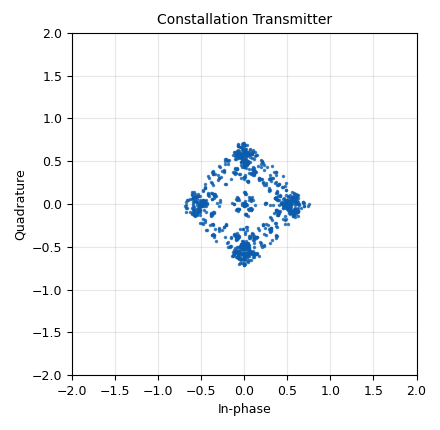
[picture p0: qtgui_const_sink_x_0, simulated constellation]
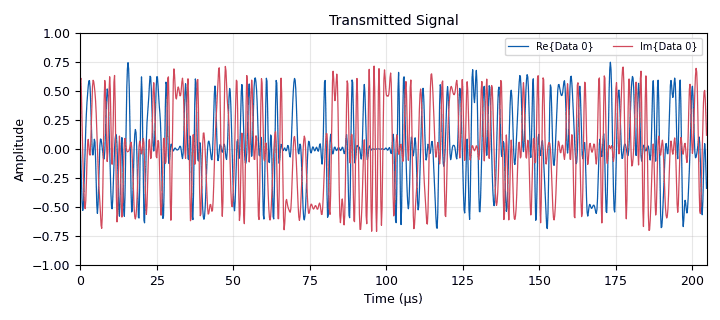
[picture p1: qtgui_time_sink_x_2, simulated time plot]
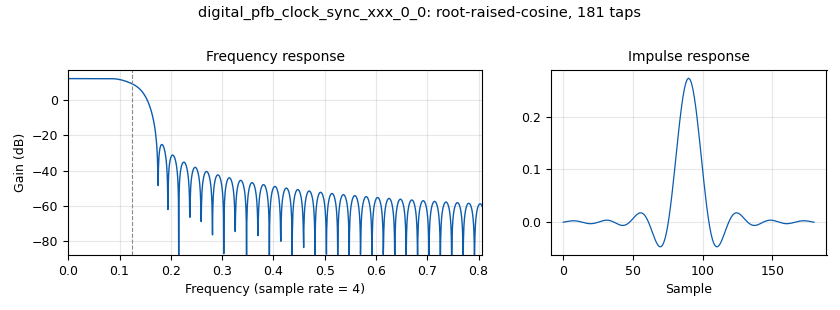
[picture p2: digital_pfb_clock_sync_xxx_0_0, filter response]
options:
  parameters:
    author: Javier Acevedo
    category: Custom
    copyright: MIT
    generate_options: qt_gui
    id: bpsk_mod
    output_language: python
  states: {}

blocks:
- name: bpsk_const
  id: variable_constellation
  parameters:
    precision: '8'
    type: qpsk
  states: {}
- name: cent_freq
  id: variable
  parameters:
    value: 2.45e9
  states: {}
- name: delay_tx
  id: variable_qtgui_range
  parameters:
    gui_hint: 0,2,1,2
    orient: Qt.Horizontal
    start: '5'
    step: '1'
    stop: '100'
    value: '25'
  states: {}
- name: excess_bw
  id: variable
  parameters:
    value: '0.350'
  states: {}
- name: gain
  id: variable_qtgui_range
  parameters:
    gui_hint: 0,4,1,1
    orient: Qt.Horizontal
    start: '0'
    step: '1'
    stop: '100'
    value: '50'
  states: {state: disabled}
- name: ip_addr_rx
  id: variable
  parameters:
    value: '"192.168.10.200"'
  states: {}
- name: ip_addr_tx
  id: variable
  parameters:
    value: '"192.168.10.2"'
  states: {}
- name: loop_order
  id: variable
  parameters:
    value: '2'
  states: {}
- name: nfilts
  id: variable
  parameters:
    value: '4'
  states: {}
- name: noise
  id: variable_qtgui_range
  parameters:
    gui_hint: 0,0,1,1
    orient: Qt.Horizontal
    start: '0'
    step: '1'
    stop: '100'
    value: '50'
  states: {}
- name: ntaps
  id: variable
  parameters:
    value: '15'
  states: {}
- name: phase_bw
  id: variable
  parameters:
    value: '62.8e-3'
  states: {}
- name: rrc_taps
  id: variable
  parameters:
    value: firdes.root_raised_cosine(nfilts, nfilts, 1.0/float(sps), 0.35, 45*nfilts)
  states: {}
- name: samp_rate
  id: variable
  parameters:
    value: 5e6
  states: {}
- name: sps
  id: variable
  parameters:
    value: '4'
  states: {}
- name: taps
  id: variable
  parameters:
    value: '[1.0, 0.25-0.25j, 0.50 + 0.10j, -0.3 + 0.2j]'
  states: {}
- name: tunning
  id: variable_qtgui_range
  parameters:
    gui_hint: 0,1,1,1
    orient: Qt.Horizontal
    start: '0'
    step: '1'
    stop: '100'
    value: '50'
  states: {}
- name: analog_agc2_xx_0
  id: analog_agc2_xx
  parameters:
    attack_rate: '1e-1'
    decay_rate: '1e-2'
    gain: '1.0'
    max_gain: '65536'
    reference: '1.0'
    type: complex
  states: {}
- name: analog_random_source_x_0
  id: analog_random_source_x
  parameters:
    max: '256'
    min: '0'
    num_samps: '1000'
    repeat: 'True'
    type: byte
  states: {}
- name: blocks_char_to_float_0
  id: blocks_char_to_float
  parameters:
    scale: '1'
  states: {state: disabled}
- name: blocks_char_to_float_1
  id: blocks_char_to_float
  parameters:
    scale: '1'
  states: {state: disabled}
- name: blocks_delay_0
  id: blocks_delay
  parameters:
    delay: delay_tx
    type: float
  states: {state: disabled}
- name: blocks_file_sink_0
  id: blocks_file_sink
  parameters:
    file: /home/supersonic/GitHub/Post-Shannon-SDR/Transmissions/BPSK/Files/test_file_rx
    type: byte
  states: {state: disabled}
- name: blocks_file_source_0
  id: blocks_file_source
  parameters:
    file: /home/supersonic/GitHub/Post-Shannon-SDR/Examples/BPSK/testFiles/test_file
    repeat: 'True'
    type: byte
  states: {state: disabled}
- name: blocks_multiply_const_vxx_0
  id: blocks_multiply_const_vxx
  parameters:
    const: '0.5'
    type: complex
  states: {}
- name: blocks_sub_xx_0
  id: blocks_sub_xx
  parameters:
    type: float
  states: {state: disabled}
- name: blocks_unpack_k_bits_bb_0
  id: blocks_unpack_k_bits_bb
  parameters:
    k: '8'
  states: {state: disabled}
- name: blocks_unpacked_to_packed_xx_0_0
  id: blocks_unpacked_to_packed_xx
  parameters:
    bits_per_chunk: '8'
    endianness: gr.GR_MSB_FIRST
    type: byte
  states: {state: disabled}
- name: blocks_unpacked_to_packed_xx_0_0_0
  id: blocks_unpacked_to_packed_xx
  parameters:
    bits_per_chunk: '1'
    endianness: gr.GR_MSB_FIRST
    type: byte
  states: {state: disabled}
- name: digital_cma_equalizer_cc_0
  id: digital_cma_equalizer_cc
  parameters:
    modulus: '1'
    mu: '0.01'
    num_taps: '15'
    sps: '2'
  states: {}
- name: digital_constellation_decoder_cb_0
  id: digital_constellation_decoder_cb
  parameters:
    constellation: bpsk_const
  states: {state: disabled}
- name: digital_constellation_modulator_0
  id: digital_constellation_modulator
  parameters:
    constellation: bpsk_const
    differential: 'True'
    excess_bw: '0.35'
    samples_per_symbol: '4'
  states: {state: disabled}
- name: digital_costas_loop_cc_0
  id: digital_costas_loop_cc
  parameters:
    order: '2'
    w: phase_bw
  states: {}
- name: digital_diff_decoder_bb_0
  id: digital_diff_decoder_bb
  parameters:
    modulus: '2'
  states: {state: disabled}
- name: digital_fll_band_edge_cc_0
  id: digital_fll_band_edge_cc
  parameters:
    filter_size: '45'
    rolloff: '0.35'
    samps_per_sym: '2'
    type: cc
    w: '0.0628'
  states: {}
- name: digital_pfb_clock_sync_xxx_0
  id: digital_pfb_clock_sync_xxx
  parameters:
    filter_size: '32'
    init_phase: '16'
    loop_bw: phase_bw
    max_dev: '1.5'
    osps: '2'
    sps: sps
    taps: rrc_taps
    type: ccf
  states: {state: disabled}
- name: digital_pfb_clock_sync_xxx_0_0
  id: digital_pfb_clock_sync_xxx
  parameters:
    filter_size: nfilts
    init_phase: nfilts/2
    loop_bw: '0.0628'
    max_dev: '1.5'
    osps: '2'
    sps: sps
    taps: rrc_taps
    type: ccf
  states: {}
- name: digital_psk_mod_0
  id: digital_psk_mod
  parameters:
    constellation_points: '4'
    differential: 'False'
    excess_bw: '0.35'
    mod_code: '"gray"'
    samples_per_symbol: '4'
  states: {}
- name: qtgui_const_sink_x_0
  id: qtgui_const_sink_x
  parameters:
    gui_hint: 3,0,2,2
    name: Constallation Transmitter
    size: '1024'
    type: complex
  states: {}
- name: qtgui_const_sink_x_0_0
  id: qtgui_const_sink_x
  parameters:
    gui_hint: 3,2,2,2
    name: Constalletion Receiver
    size: '1024'
    type: complex
  states: {}
- name: qtgui_time_sink_x_0
  id: qtgui_time_sink_x
  parameters:
    gui_hint: 5,0,1,4
    label1: Rx
    label2: Offset
    label3: Tx
    name: Input output signal
    nconnections: '3'
    size: '1024'
    srate: samp_rate
    type: float
  states: {state: disabled}
- name: qtgui_time_sink_x_2
  id: qtgui_time_sink_x
  parameters:
    gui_hint: 1,0,1,4
    name: Transmitted Signal
    size: '1024'
    srate: samp_rate
    type: complex
  states: {}
- name: uhd_usrp_sink_0
  id: uhd_usrp_sink
  parameters:
    ant0: TX/RX
    center_freq0: cent_freq
    clock_rate: '0.0'
    dev_addr: addr=192.168.10.200
    dev_args: '""'
    gain0: '30'
    len_tag_name: ''
    norm_gain0: 'False'
    samp_rate: samp_rate
    stream_args: peak=0.003906
    sync: pc_clock
    type: fc32
  states: {}
- name: uhd_usrp_source_0
  id: uhd_usrp_source
  parameters:
    ant0: RX2
    center_freq0: 915e6
    clock_rate: '0.0'
    dc_offs_enb0: '""'
    dev_addr: addr=192.168.10.2
    dev_args: '""'
    gain0: '30'
    iq_imbal_enb0: '""'
    norm_gain0: 'False'
    samp_rate: samp_rate
    stream_args: peak=0.003906
    sync: pc_clock
    type: fc32
  states: {}
- name: virtual_sink_1
  id: virtual_sink
  parameters:
    stream_id: original_data
  states: {state: disabled}
- name: virtual_source_2
  id: virtual_source
  parameters:
    stream_id: original_data
  states: {state: disabled}

connections:
- [analog_agc2_xx_0, '0', digital_fll_band_edge_cc_0, '0']
- [analog_random_source_x_0, '0', digital_psk_mod_0, '0']
- [blocks_char_to_float_0, '0', blocks_sub_xx_0, '0']
- [blocks_char_to_float_0, '0', qtgui_time_sink_x_0, '0']
- [blocks_char_to_float_1, '0', blocks_delay_0, '0']
- [blocks_delay_0, '0', blocks_sub_xx_0, '1']
- [blocks_delay_0, '0', qtgui_time_sink_x_0, '2']
- [blocks_file_source_0, '0', digital_constellation_modulator_0, '0']
- [blocks_file_source_0, '0', digital_psk_mod_0, '0']
- [blocks_file_source_0, '0', virtual_sink_1, '0']
- [blocks_multiply_const_vxx_0, '0', qtgui_const_sink_x_0, '0']
- [blocks_multiply_const_vxx_0, '0', qtgui_time_sink_x_2, '0']
- [blocks_multiply_const_vxx_0, '0', uhd_usrp_sink_0, '0']
- [blocks_sub_xx_0, '0', qtgui_time_sink_x_0, '1']
- [blocks_unpack_k_bits_bb_0, '0', blocks_char_to_float_1, '0']
- [blocks_unpacked_to_packed_xx_0_0, '0', blocks_file_sink_0, '0']
- [blocks_unpacked_to_packed_xx_0_0_0, '0', blocks_unpacked_to_packed_xx_0_0, '0']
- [digital_cma_equalizer_cc_0, '0', digital_costas_loop_cc_0, '0']
- [digital_constellation_decoder_cb_0, '0', digital_diff_decoder_bb_0, '0']
- [digital_constellation_modulator_0, '0', blocks_multiply_const_vxx_0, '0']
- [digital_constellation_modulator_0, '0', digital_pfb_clock_sync_xxx_0, '0']
- [digital_costas_loop_cc_0, '0', digital_constellation_decoder_cb_0, '0']
- [digital_costas_loop_cc_0, '0', qtgui_const_sink_x_0_0, '0']
- [digital_diff_decoder_bb_0, '0', blocks_char_to_float_0, '0']
- [digital_diff_decoder_bb_0, '0', blocks_unpacked_to_packed_xx_0_0_0, '0']
- [digital_fll_band_edge_cc_0, '0', digital_pfb_clock_sync_xxx_0_0, '0']
- [digital_pfb_clock_sync_xxx_0, '0', qtgui_const_sink_x_0, '0']
- [digital_pfb_clock_sync_xxx_0, '0', qtgui_time_sink_x_2, '0']
- [digital_pfb_clock_sync_xxx_0, '0', uhd_usrp_sink_0, '0']
- [digital_pfb_clock_sync_xxx_0_0, '0', digital_cma_equalizer_cc_0, '0']
- [digital_psk_mod_0, '0', blocks_multiply_const_vxx_0, '0']
- [digital_psk_mod_0, '0', digital_pfb_clock_sync_xxx_0, '0']
- [uhd_usrp_source_0, '0', analog_agc2_xx_0, '0']
- [virtual_source_2, '0', blocks_unpack_k_bits_bb_0, '0']

metadata:
  file_format: 1
